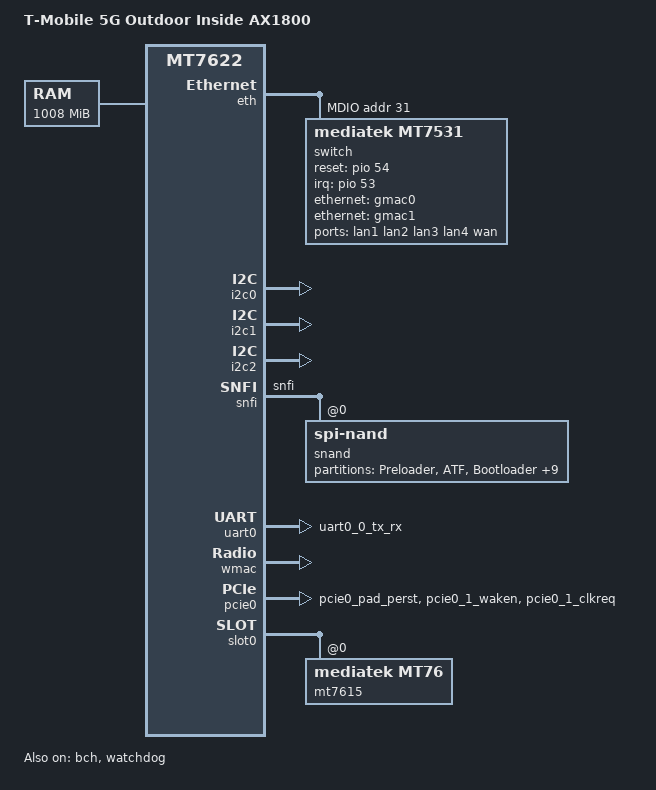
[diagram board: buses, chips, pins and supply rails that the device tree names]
/dts-v1/;

#include "mt7622.dtsi"
#include "mt6380.dtsi"
#include <dt-bindings/gpio/gpio.h>
#include <dt-bindings/input/input.h>

/ {
	model = "T-Mobile 5G Outdoor Inside AX1800";
	compatible = "t-mobile,5g,box,outdoor,inside,ax1800", "mediatek,mt7622";

	aliases {
		serial0 = &uart0;
		label-mac-device = &gmac0;
	};

	chosen {
		bootargs = "console=ttyS0,115200n1";
	};

	cpus {
		cpu@0 {
			proc-supply = <&mt6380_vcpu_reg>;
			sram-supply = <&mt6380_vm_reg>;
		};

		cpu@1 {
			proc-supply = <&mt6380_vcpu_reg>;
			sram-supply = <&mt6380_vm_reg>;
		};
	};

	memory {
		reg = <0x00 0x40000000 0x00 0x3F000000>;
	};
};

&eth {
	status = "okay";

	gmac0: mac@0 { /* LAN */
		compatible = "mediatek,eth-mac";
		reg = <0>;
		phy-mode = "rgmii";
		fixed-link {
			speed = <1000>;
			full-duplex;
			pause;
		};
	};

	gmac1: mac@1 { /* WAN */
		compatible = "mediatek,eth-mac";
		reg = <1>;
		phy-mode = "sgmii";
		fixed-link {
			speed = <2500>;
			full-duplex;
			pause;
		};
	};

	mdio: mdio-bus {
		#address-cells = <1>;
	  #size-cells = <0>;

		switch@1f {
			compatible = "mediatek,mt7531";
			reg = <31>;
			reset-gpios = <&pio 54 0>;
			interrupt-controller;
			#interrupt-cells = <2>;
			interrupt-parent = <&pio>;
			interrupts = <53 4>;

			ports {
				#address-cells = <1>;
				#size-cells = <0>;

				port@0 {
					reg = <0>;
					label = "lan1";
				};

				port@1 {
					reg = <1>;
					label = "lan2";
				};

				port@2 {
					reg = <2>;
					label = "lan3";
				};

				port@3 {
					reg = <3>;
					label = "lan4";
				};

				wan: port@4 {
					reg = <4>;
					label = "wan";
				};

				port@5 { /* LAN */
					reg = <5>;
					ethernet = <&gmac0>;
					phy-mode = "rgmii";

					fixed-link {
						speed = <1000>;
						full-duplex;
						pause;
					};
				};

				port@6 { /* WAN */
					reg = <6>;
					ethernet = <&gmac1>;
					phy-mode = "sgmii";

					fixed-link {
						speed = <2500>;
						full-duplex;
						pause;
					};
				};
			};
		};
  };
};

&bch {
	status = "okay";
};

&pio {
	pcie0_pins: pcie0-pins {
		mux {
			function = "pcie";
			groups = "pcie0_pad_perst",
				 "pcie0_1_waken",
				 "pcie0_1_clkreq";
		};
	};

	pcie1_pins: pcie1-pins {
		mux {
			function = "pcie";
			groups = "pcie1_pad_perst",
				 "pcie1_0_waken",
				 "pcie1_0_clkreq";
		};
	};

	serial_nand_pins: serial-nand-pins {
		mux {
			function = "flash";
			groups = "snfi";
		};
	};

	pmic_bus_pins: pmic-bus-pins {
		mux {
			function = "pmic";
			groups = "pmic_bus";
		};
	};

	uart0_pins: uart0-pins {
		mux {
			function = "uart";
			groups = "uart0_0_tx_rx";
		};
	};

	watchdog_pins: watchdog-pins {
		mux {
			function = "watchdog";
			groups = "watchdog";
		};
	};

	epa_elna_pins: epa-elna-pins {
		mux {
			function = "antsel";
			groups = "antsel0", "antsel1", "antsel2", "antsel3",
				"antsel4", "antsel5", "antsel6", "antsel7",
				"antsel8", "antsel9", "antsel12", "antsel13",
				"antsel14", "antsel15", "antsel16", "antsel17";
		};
	};

	/* No motivation to test these :/
	reset {
		label = "reset";
		gpios = <0x1f 0x60 0x01>;
		linux,code = <0x198>;
		debounce-interval = <0x3c>;
	};

	wps {
		label = "wps";
		gpios = <0x1f 0x66 0x01>;
		linux,code = <0x211>;
		debounce-interval = <0x3c>;
	};
	*/
};

&i2c0 {
	status = "okay";
};

&i2c1 {
	status = "okay";
};

&i2c2 {
	status = "okay";
};

&pwrap {
	pinctrl-names = "default";
	pinctrl-0 = <&pmic_bus_pins>;
	status = "okay";
};

&snfi {
	pinctrl-names = "default";
	pinctrl-0 = <&serial_nand_pins>;
	status = "okay";

	snand: flash@0 {
		compatible = "spi-nand";
		mediatek,bmt-v2;
		mediatek,bmt-table-size = <0x1000>;
		nand-ecc-engine = <&snfi>;
		reg = <0>;
		spi-tx-bus-width = <4>;
		spi-rx-bus-width = <4>;

		partitions {
			compatible = "fixed-partitions";
			#address-cells = <1>;
			#size-cells = <1>;

			partition@0 {
				label = "Preloader";
				reg = <0x00000 0x0080000>;
				read-only;
			};

			partition@80000 {
				label = "ATF";
				reg = <0x80000 0x0040000>;
			};

			partition@c0000 {
				label = "Bootloader";
				reg = <0xc0000 0x0080000>;
			};

			partition@140000 {
				label = "Config";
				reg = <0x140000 0x0080000>;
			};

			factory: partition@1c0000 {
				label = "Factory";
				reg = <0x1c0000 0x0100000>;

				nvmem-layout {
					compatible = "fixed-layout";
					#address-cells = <1>;
					#size-cells = <1>;

					macaddr_eeprom_0: macaddr@0 {
						reg = <0x4 0x6>;
					};

					macaddr_eeprom_1: macaddr@1 {
						reg = <0xa 0x6>;
					};
				};
			};

			partition@300000 {
				label = "Devinfo";
				reg = <0x300000 0x0020000>;
			};

			partition@320000 {
				label = "senv";
				reg = <0x320000 0x0020000>;
			};

			partition@360000 {
				label = "bootseq";
				reg = <0x360000 0x0020000>;
			};

			partition@500000 {
				label = "firmware1";
				compatible = "denx,fit";
				openwrt,cmdline-match = "mtdparts=master";
				reg = <0x500000 0x1e00000>;
			};

			partition@2300000 {
				label = "firmware2";
				compatible = "denx,fit";
				openwrt,cmdline-match = "mtdparts=slave";
				reg = <0x2300000 0x1e00000>;
			};

			partition@4100000 {
				label = "data";
				reg = <0x4100000 0x1900000>;
			};

			partition@5a00000 {
				label = "mfg";
				reg = <0x5a00000 0x1400000>;
			};
		};
	};
};

&uart0 {
	pinctrl-names = "default";
	pinctrl-0 = <&uart0_pins>;
	status = "okay";
};

&watchdog {
	pinctrl-names = "default";
	pinctrl-0 = <&watchdog_pins>;
	status = "okay";
};

&wmac {
	mediatek,mtd-eeprom = <&factory 0x0>;
	nvmem-cells = <&macaddr_eeprom_0>;
	nvmem-cell-names = "mac-address";
	status = "okay";
};

&pcie0 {
	pinctrl-names = "default";
	pinctrl-0 = <&pcie0_pins>;
	status = "okay";
};

&slot0 {
	mt7615@0,0 {
		compatible = "mediatek,mt76";
		reg = <0x0000 0 0 0 0>;
		mediatek,mtd-eeprom = <&factory 0x0>;
	};
};
